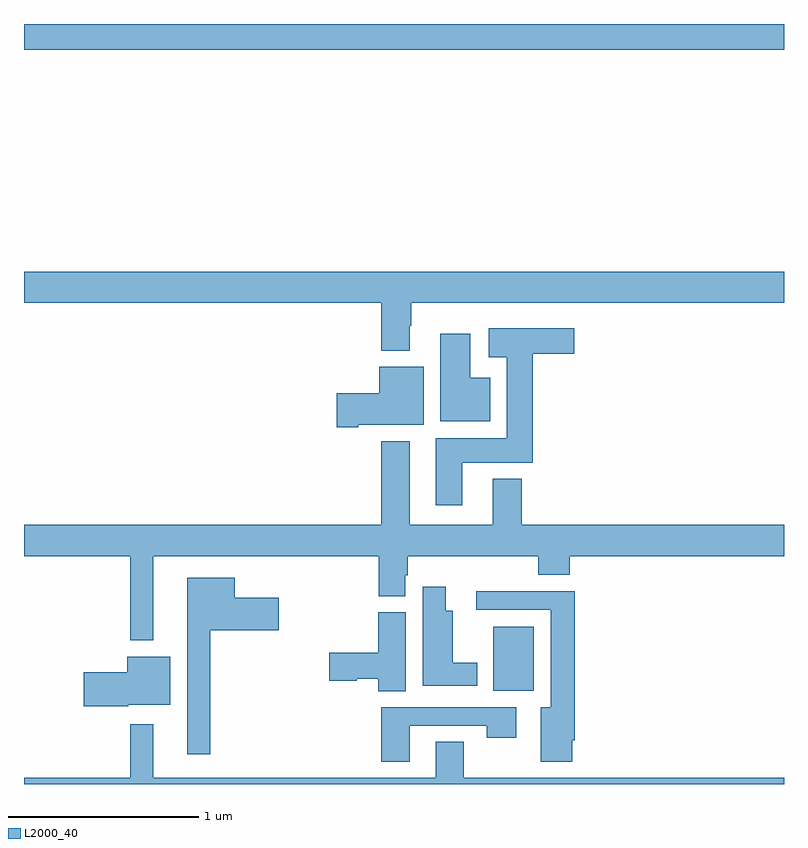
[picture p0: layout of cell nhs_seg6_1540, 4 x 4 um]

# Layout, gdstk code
import gdstk
lib = gdstk.Library(unit=1e-6, precision=1e-09)
def R(c, l, rs):  # rectangles x0, y0, x1, y1
    for r in rs: c.add(gdstk.rectangle(r[:2], r[2:], *l))
def P(c, l, *ps):  # polygons
    for p in ps: c.add(gdstk.Polygon(p, *l))
L2000_40 = (2000, 40)

nhs_seg6_1540 = lib.new_cell('nhs_seg6_1540')
R(nhs_seg6_1540, L2000_40, [(207.47,915.992,207.682,916.327), (205,919.364,209,919.5)])
P(nhs_seg6_1540, L2000_40, [(207.031,917.912),(207.039,917.912),(207.039,918.032),(209,918.032),(209,918.196),(205,918.196),(205,918.032),(206.879,918.032),(206.879,917.78),(207.031,917.78)],
  [(207.307,917.192),(207.677,917.192),(207.677,917.765),(207.895,917.765),(207.895,917.899),(207.447,917.899),(207.447,917.747),(207.542,917.747),(207.542,917.32),(207.167,917.32),(207.167,916.968),(207.307,916.968)],
  [(207.454,917.638),(207.349,917.638),(207.349,917.869),(207.191,917.869),(207.191,917.408),(207.454,917.408)],
  [(206.758,917.39),(207.103,917.39),(207.103,917.695),(206.87,917.695),(206.87,917.556),(206.646,917.556),(206.646,917.378),(206.758,917.378)],
  [(205.681,916.7),(206.867,916.7),(206.867,916.489),(207.007,916.489),(207.007,916.599),(207.02,916.599),(207.02,916.7),(207.707,916.7),(207.707,916.601),(207.872,916.601),(207.872,916.7),(209,916.7),(209,916.864),(207.62,916.864),(207.62,917.107),(207.467,917.107),(207.467,916.864),(207.031,916.864),(207.031,917.305),(206.879,917.305),(206.879,916.864),(205,916.864),(205,916.7),(205.56,916.7),(205.56,916.256),(205.681,916.256)],
  [(205.981,916.31),(206.341,916.31),(206.341,916.48),(206.11,916.48),(206.11,916.585),(205.859,916.585),(205.859,915.657),(205.981,915.657)],
  [(207.385,916.138),(207.256,916.138),(207.256,916.411),(207.22,916.411),(207.22,916.537),(207.098,916.537),(207.098,916.016),(207.385,916.016)],
  [(207.886,915.73),(207.899,915.73),(207.899,916.514),(207.381,916.514),(207.381,916.416),(207.773,916.416),(207.773,915.904),(207.719,915.904),(207.719,915.618),(207.886,915.618)],
  [(207.01,916.404),(206.864,916.404),(206.864,916.19),(206.607,916.19),(206.607,916.043),(206.75,916.043),(206.75,916.055),(206.864,916.055),(206.864,915.988),(207.01,915.988)],
  [(205.548,915.917),(205.771,915.917),(205.771,916.171),(205.544,916.171),(205.544,916.088),(205.314,916.088),(205.314,915.91),(205.548,915.91)],
  [(207.031,915.807),(207.436,915.807),(207.436,915.744),(207.592,915.744),(207.592,915.903),(206.879,915.903),(206.879,915.618),(207.031,915.618)],
  [(209,915.532),(207.315,915.532),(207.315,915.722),(207.167,915.722),(207.167,915.532),(205.681,915.532),(205.681,915.814),(205.56,915.814),(205.56,915.532),(205,915.532),(205,915.5),(209,915.5)])

lib.write_gds('nhs_seg6_1540.gds')
